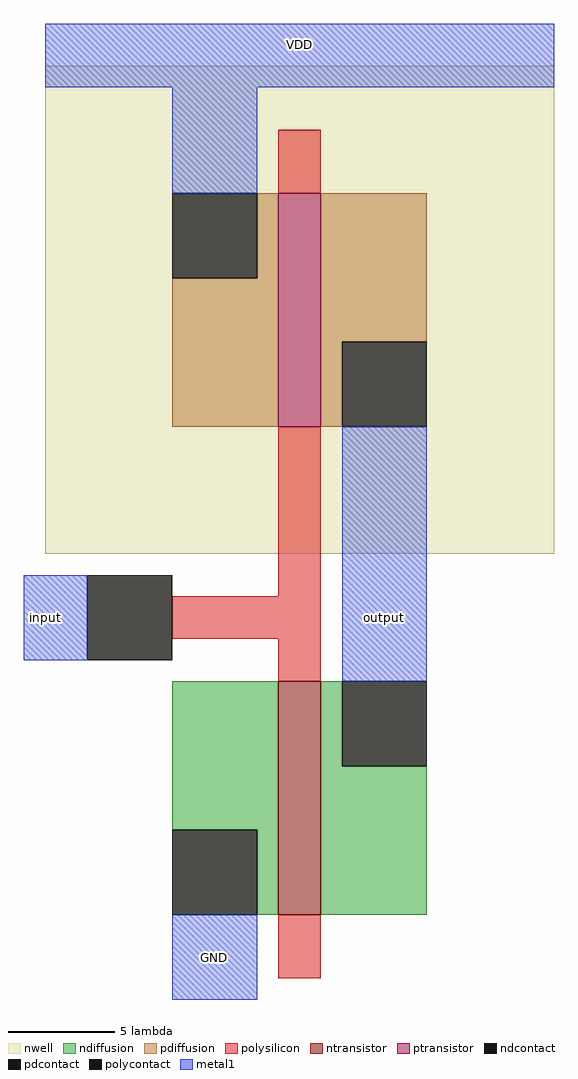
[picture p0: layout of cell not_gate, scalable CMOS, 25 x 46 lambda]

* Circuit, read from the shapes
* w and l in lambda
.subckt not_gate GND VDD input output
M1 output input GND VSUBS nfet w=11 l=2
M2 output input VDD n1 pfet w=11 l=2
.ends

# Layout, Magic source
magic
tech scmos
<< nwell >>
rect -12 -11 12 12
<< ntransistor >>
rect -1 -28 1 -17
<< ptransistor >>
rect -1 -5 1 6
<< ndiffusion >>
rect -6 -24 -1 -17
rect -2 -28 -1 -24
rect 1 -21 2 -17
rect 1 -28 6 -21
<< pdiffusion >>
rect -2 2 -1 6
rect -6 -5 -1 2
rect 1 -1 6 6
rect 1 -5 2 -1
<< ndcontact >>
rect -6 -28 -2 -24
rect 2 -21 6 -17
<< pdcontact >>
rect -6 2 -2 6
rect 2 -5 6 -1
<< polysilicon >>
rect -1 6 1 9
rect -1 -13 1 -5
rect -6 -15 1 -13
rect -1 -17 1 -15
rect -1 -31 1 -28
<< polycontact >>
rect -10 -16 -6 -12
<< metal1 >>
rect -12 11 12 14
rect -6 6 -2 11
rect -13 -16 -10 -12
rect 2 -17 6 -5
rect -6 -32 -2 -28
<< labels >>
rlabel metal1 0 13 0 13 5 VDD
rlabel metal1 -12 -14 -12 -14 3 input
rlabel metal1 -4 -30 -4 -30 1 GND
rlabel metal1 4 -14 4 -14 1 output
<< end >>
